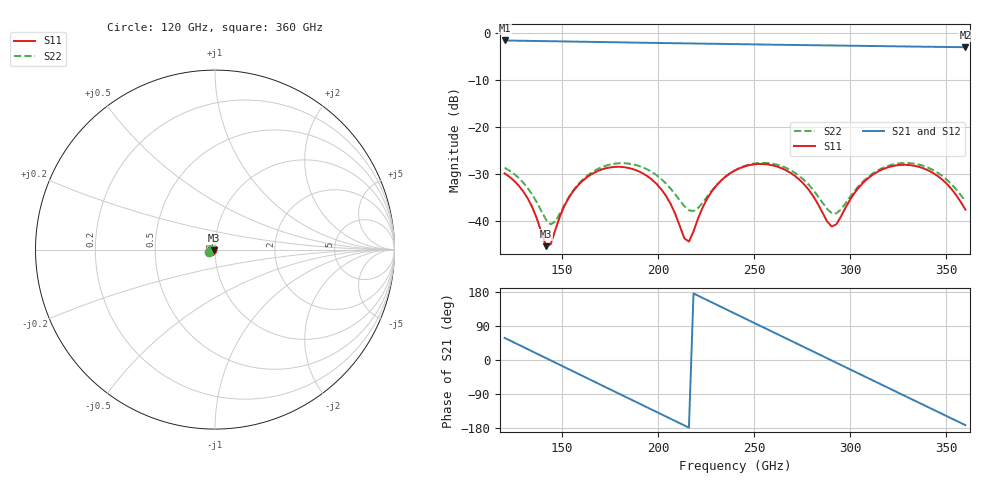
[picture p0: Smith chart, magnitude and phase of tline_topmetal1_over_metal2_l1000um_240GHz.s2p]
#  GHZ S DB R 50
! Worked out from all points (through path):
!   101 points, 120 GHz to 360 GHz, reference 50 ohm
!   highest |S21| = -1.64 dB at 120 GHz (marker M1); lowest = -3.1 dB at 360 GHz (marker M2)
!   group delay of S21, straight-line fit = 6.83 ps
!   lowest |S11| = -45.3 dB at 141.6 GHz (marker M3), VSWR 1.01, Z = 49.5 - j0.257 ohm
!   |S11| at or under -10 dB: start of sweep to end of sweep
!   |S22| runs from -40.7 to -27.6 dB; largest |S21 - S12| = 1.3e-13
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120  -29.85 -161.0  -1.64 58.4  -1.64 58.4  -28.68 -155.5
132  -35.13 176.8  -1.72 28.7  -1.72 28.7  -32.95 -174.6
141.6  -45.30 -151.5  -1.78 4.9  -1.78 4.9  -39.69 -158.6
144  -44.90 -116.4  -1.80 -1.0  -1.80 -1.0  -40.67 -140.7
146.4  -41.85 -96.5  -1.82 -6.9  -1.82 -6.9  -40.06 -121.7
153.6  -34.91 -91.0  -1.86 -24.7  -1.86 -24.7  -34.81 -100.6
160.8  -31.36 -102.9  -1.91 -42.5  -1.91 -42.5  -31.14 -106.0
180  -28.46 -144.5  -2.04 -89.9  -2.04 -89.9  -27.70 -141.0
189.6  -29.36 -165.5  -2.11 -113.6  -2.11 -113.6  -28.22 -159.2
201.6  -33.23 172.1  -2.18 -143.1  -2.18 -143.1  -31.05 -177.2
216  -44.33 -137.1  -2.27 -178.6  -2.27 -178.6  -37.69 -158.3
228  -33.63 -102.5  -2.34 151.9  -2.34 151.9  -33.49 -119.5
240  -29.22 -123.2  -2.41 122.4  -2.41 122.4  -29.20 -129.7
259.2  -28.11 -163.0  -2.53 75.2  -2.53 75.2  -27.78 -163.0
271.2  -30.39 174.5  -2.60 45.8  -2.60 45.8  -29.73 177.5
280.8  -34.72 164.5  -2.65 22.2  -2.65 22.2  -33.40 169.8
290.4  -41.15 -160.9  -2.70 -1.3  -2.70 -1.3  -38.30 -165.0
307.2  -31.65 -122.7  -2.79 -42.6  -2.79 -42.6  -31.36 -126.4
321.6  -28.34 -147.2  -2.87 -77.9  -2.87 -77.9  -28.02 -146.7
331.2  -28.10 -165.7  -2.93 -101.4  -2.93 -101.4  -27.68 -163.4
343.2  -29.77 172.5  -2.99 -130.8  -2.99 -130.8  -29.14 177.1
360  -37.54 166.2  -3.07 -172.0  -3.07 -172.0  -35.74 172.9
